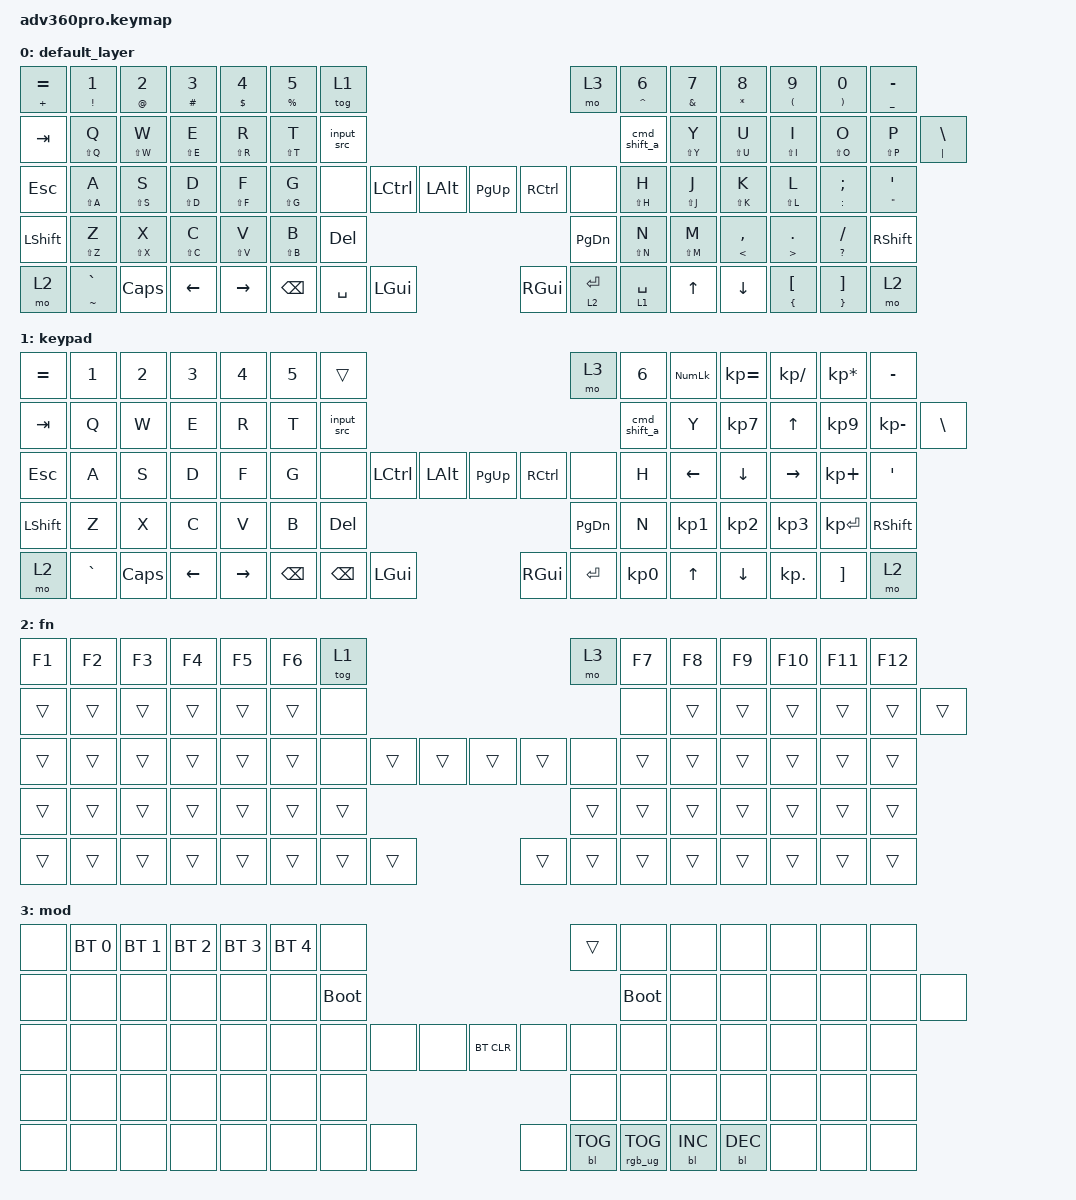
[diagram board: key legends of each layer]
#include <behaviors.dtsi>
#include <dt-bindings/zmk/keys.h>
#include <dt-bindings/zmk/bt.h>
#include <dt-bindings/zmk/rgb.h>
#include <dt-bindings/zmk/backlight.h>

/ {
    macros {
        // Input source toggle for Mac (Ctrl+Option+Space)
        input_src: input_src {
            compatible = "zmk,behavior-macro";
            label = "INPUT_SOURCE_TOGGLE";
            #binding-cells = <0>;
            bindings
                = <&macro_press &kp LCTRL &kp LALT>
                , <&macro_tap &kp SPACE>
                , <&macro_release &kp LCTRL &kp LALT>
                ;
        };

        // Shortcut for Command+Shift+A
        cmd_shift_a: cmd_shift_a {
            compatible = "zmk,behavior-macro";
            label = "CMD_SHIFT_A";
            #binding-cells = <0>;
            bindings
                = <&macro_press &kp LGUI &kp LSHFT>
                , <&macro_tap &kp A>
                , <&macro_release &kp LGUI &kp LSHFT>
                ;
        };
    };

    behaviors {
        // Auto-shift behavior - hold any key for its shifted version
        as: auto_shift {
            compatible = "zmk,behavior-hold-tap";
            label = "AUTO_SHIFT";
            #binding-cells = <2>;
            tapping-term-ms = <250>;  // Hold for 300ms to get shifted character
            quick-tap-ms = <150>;     // Allow quick repeated taps
            flavor = "tap-preferred"; // Prioritize tap for normal typing
            bindings = <&kp>, <&kp>;
        };

        // Layer-tap behavior with custom timing
        lt_custom: layer_tap_custom {
            compatible = "zmk,behavior-hold-tap";
            label = "LAYER_TAP_CUSTOM";
            #binding-cells = <2>;
            tapping-term-ms = <250>;  // Slightly longer hold time for layer switching
            quick-tap-ms = <150>;
            flavor = "balanced";      // Balance between tap and hold
            bindings = <&mo>, <&kp>;
        };

        // Mod-tap for modifier keys with custom timing
        mt_custom: mod_tap_custom {
            compatible = "zmk,behavior-hold-tap";
            label = "MOD_TAP_CUSTOM";
            #binding-cells = <2>;
            tapping-term-ms = <175>;  // Faster response for modifiers
            quick-tap-ms = <125>;
            flavor = "hold-preferred"; // Prefer hold for modifiers
            bindings = <&kp>, <&kp>;
        };
    };

    keymap {
        compatible = "zmk,keymap";

        default_layer {
            /* Example usage of custom hold-tap behaviors:
             * Replace any &kp KEY with:
             *   &hm LCTRL A     - Tap for 'A', hold for Left Control
             *   &lt_custom 2 SPACE - Tap for Space, hold for Layer 2
             *   &mt_custom LSHIFT ESC - Tap for Escape, hold for Left Shift
             *
             * Timing adjustments:
             * - tapping-term-ms: How long to hold before triggering hold behavior (in milliseconds)
             * - quick-tap-ms: Time window for quick repeated taps
             * - flavor options:
             *   - "tap-preferred": Prioritizes tap (good for typing)
             *   - "hold-preferred": Prioritizes hold (good for modifiers)
             *   - "balanced": Middle ground between tap and hold
             */
            bindings = <
                &as PLUS EQUAL  &as EXCL N1  &as AT N2  &as HASH N3  &as DLLR N4  &as PRCNT N5  &tog 1                                                           &mo 3  &as CARET N6  &as AMPS N7  &as STAR N8  &as LPAR N9  &as RPAR N0  &as UNDER MINUS
                &kp TAB   &as LS(Q) Q  &as LS(W) W  &as LS(E) E  &as LS(R) R  &as LS(T) T  &input_src                                                            &cmd_shift_a &as LS(Y) Y  &as LS(U) U  &as LS(I) I  &as LS(O) O  &as LS(P) P  &as PIPE BSLH
                &kp ESC   &as LS(A) A  &as LS(S) S  &as LS(D) D  &as LS(F) F  &as LS(G) G  &none           &kp LCTRL &kp LALT &kp PG_UP  &kp RCTRL           &none &as LS(H) H  &as LS(J) J  &as LS(K) K  &as LS(L) L  &as COLON SEMI &as DQT SQT
                &kp LSHFT &as LS(Z) Z  &as LS(X) X  &as LS(C) C  &as LS(V) V  &as LS(B) B                            &kp DEL &kp PG_DN                           &as LS(N) N  &as LS(M) M  &as LT COMMA &as GT DOT  &as QMARK FSLH &kp RSHFT
                &mo 2     &as TILDE GRAVE &kp CAPS &kp LEFT &kp RIGHT                &kp BSPC &kp SPACE   &kp LGUI  &kp RGUI &lt_custom 2 ENTER &lt_custom 1 SPACE              &kp UP &kp DOWN  &as LBRC LBKT &as RBRC RBKT &mo 2
            >;
        };
        keypad {
            bindings = <
                &kp EQUAL &kp N1    &kp N2   &kp N3   &kp N4     &kp N5 &trans                                                           &mo 3 &kp N6 &kp KP_NUM &kp KP_EQUAL &kp KP_DIVIDE &kp KP_MULTIPLY &kp MINUS
                &kp TAB   &kp Q     &kp W    &kp E    &kp R      &kp T  &input_src                                                            &cmd_shift_a &kp Y  &kp KP_N7  &kp UP    &kp KP_N9     &kp KP_MINUS    &kp BSLH
                &kp ESC   &kp A     &kp S    &kp D    &kp F      &kp G  &none           &kp LCTRL &kp LALT &kp PG_UP  &kp RCTRL           &none &kp H  &kp LEFT  &kp DOWN    &kp RIGHT     &kp KP_PLUS     &kp SQT
                &kp LSHFT &kp Z     &kp X    &kp C    &kp V      &kp B                            &kp DEL &kp PG_DN                           &kp N  &kp KP_N1  &kp KP_N2    &kp KP_N3     &kp KP_ENTER    &kp RSHFT
                &mo 2     &kp GRAVE &kp CAPS &kp LEFT &kp RIGHT                &kp BSPC &kp BSPC   &kp LGUI  &kp RGUI &kp ENTER &kp KP_N0              &kp UP     &kp DOWN     &kp KP_DOT    &kp RBKT        &mo 2
            >;
        };
        fn {
            bindings = <
                &kp F1 &kp F2 &kp F3 &kp F4 &kp F5 &kp F6 &tog 1                                           &mo 3 &kp F7 &kp F8 &kp F9 &kp F10 &kp F11 &kp F12
                &trans &trans &trans &trans &trans &trans  &none                                           &none &trans &trans &trans &trans  &trans  &trans
                &trans &trans &trans &trans &trans &trans  &none        &trans &trans &trans &trans        &none &trans &trans &trans &trans  &trans  &trans
                &trans &trans &trans &trans &trans &trans                      &trans &trans                     &trans &trans &trans &trans  &trans  &trans
                &trans &trans &trans &trans &trans               &trans &trans &trans &trans &trans &trans              &trans &trans &trans  &trans  &trans
            >;
        };
        mod {
            bindings = <
                &none &bt BT_SEL 0 &bt BT_SEL 1 &bt BT_SEL 2 &bt BT_SEL 3 &bt BT_SEL 4 &none                                                               &trans      &none &none      &none      &none &none &none
                &none &none        &none        &none        &none        &none        &bootloader                                                         &bootloader &none &none      &none      &none &none &none
                &none &none        &none        &none        &none        &none        &none             &none &none &bt BT_CLR &none                      &none       &none &none      &none      &none &none &none
                &none &none        &none        &none        &none        &none                                &none &none                                             &none &none      &none      &none &none &none
                &none &none        &none        &none        &none                                 &none &none &none &none      &bl BL_TOG &rgb_ug RGB_TOG                   &bl BL_INC &bl BL_DEC &none &none &none
            >;
        };
    };
};

